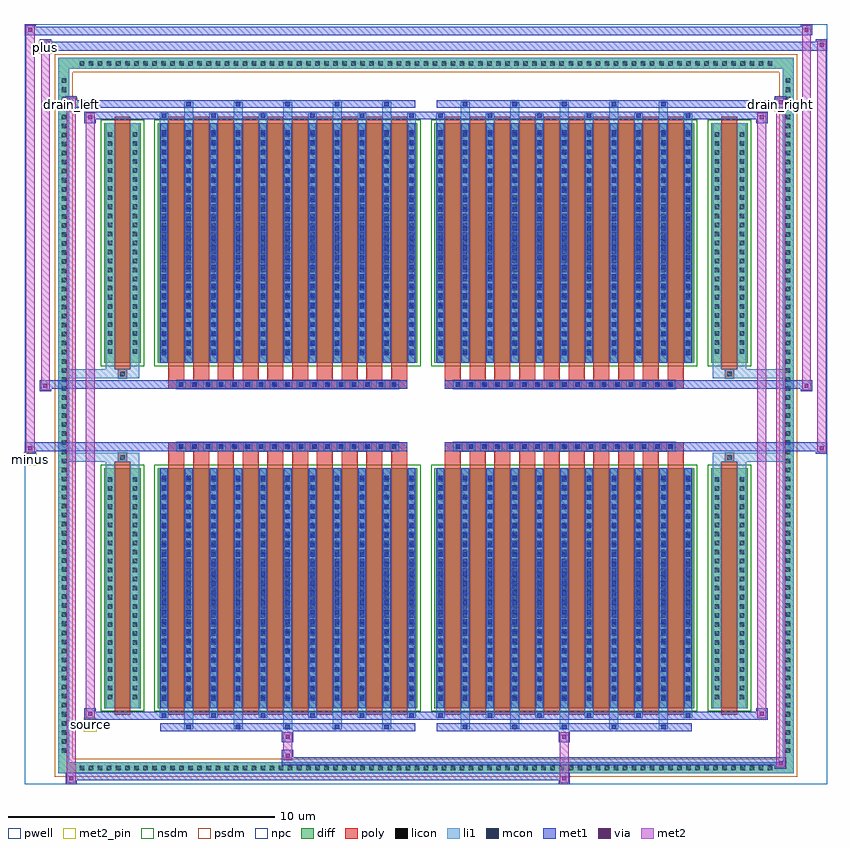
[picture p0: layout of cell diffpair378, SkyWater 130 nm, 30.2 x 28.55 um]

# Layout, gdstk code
import gdstk
lib = gdstk.Library(unit=1e-6, precision=5e-09)
def R(c, l, rs):  # rectangles x0, y0, x1, y1
    for r in rs: c.add(gdstk.rectangle(r[:2], r[2:], *l))
def A(c, l, x, y, w, h, nx, ny, dx, dy):  # array of equal rectangles
    R(c, l, [(x+i*dx, y+j*dy, x+i*dx+w, y+j*dy+h) for i in range(nx) for j in range(ny)])
def P(c, l, *ps):  # polygons
    for p in ps: c.add(gdstk.Polygon(p, *l))
pwell = (64, 44)
diff = (65, 20)
poly = (66, 20)
licon = (66, 44)
li1 = (67, 20)
mcon = (67, 44)
met1 = (68, 20)
via = (68, 44)
met2_pin = (69, 16)
met2 = (69, 20)
nsdm = (93, 44)
psdm = (94, 20)
npc = (95, 20)

diffpair378 = lib.new_cell('diffpair378')
R(diffpair378, pwell, [(-15.08,-13.84,15.08,14.71), (-12.4,-12.03,-0.01,-0.805), (0.01,-12.03,12.4,-0.805), (-12.4,0.805,-0.01,12.03), (0.01,0.805,12.4,12.03)])
A(diffpair378, diff, -13.125, -13.44, 0.41, 0.41, 77, 2, 0.34, 26.47)
A(diffpair378, diff, -13.81, -12.785, 0.41, 0.41, 1, 75, 0, 0.34)
A(diffpair378, diff, 13.4, -12.785, 0.41, 0.41, 1, 75, 0, 0.34)
R(diffpair378, diff, [(-13.125,-13.44,13.125,-13.03), (-13.81,-12.785,-13.4,12.785), (13.4,-12.785,13.81,12.785), (-12.09,-10.985,-10.71,-1.985), (-10.07,-10.985,-0.32,-1.985), (0.32,-10.985,10.07,-1.985), (10.71,-10.985,12.09,-1.985), (-12.09,1.985,-10.71,10.985), (-10.07,1.985,-0.32,10.985), (0.32,1.985,10.07,10.985), (10.71,1.985,12.09,10.985), (-13.125,13.03,13.125,13.44)])
P(diffpair378, diff, [(13.81,13.44),(-13.81,13.44),(-13.81,-13.03),(-13.4,-13.03),(-13.4,13.03),(13.4,13.03),(13.4,-13.03),(-13.4,-13.03),(-13.81,-13.03),(-13.81,-13.44),(13.81,-13.44)])
A(diffpair378, poly, -9.68, -11.235, 0.6, 9.5, 10, 2, 0.93, 12.97)
A(diffpair378, poly, 0.71, -11.235, 0.6, 9.5, 10, 2, 0.93, 12.97)
A(diffpair378, poly, -9.68, -1.735, 0.6, 0.4, 10, 2, 0.93, 3.07)
A(diffpair378, poly, 0.71, -1.735, 0.6, 0.4, 10, 2, 0.93, 3.07)
A(diffpair378, poly, -9.36, -1.335, 0.33, 0.33, 17, 2, 0.5, 2.34)
A(diffpair378, poly, 1.03, -1.335, 0.33, 0.33, 17, 2, 0.5, 2.34)
R(diffpair378, poly, [(-11.7,-11.235,-11.1,-1.735), (11.1,-11.235,11.7,-1.735), (-11.565,-1.735,-11.235,-1.405), (-11.565,-1.735,-11.235,-1.405), (11.235,-1.735,11.565,-1.405), (11.235,-1.735,11.565,-1.405), (-9.68,-1.335,-0.71,-1.005), (0.71,-1.335,9.68,-1.005), (-9.68,1.005,-0.71,1.335), (0.71,1.005,9.68,1.335), (-11.565,1.405,-11.235,1.735), (-11.565,1.405,-11.235,1.735), (11.235,1.405,11.565,1.735), (11.235,1.405,11.565,1.735), (-11.7,1.735,-11.1,11.235), (11.1,1.735,11.7,11.235)])
A(diffpair378, licon, -13.005, -13.32, 0.17, 0.17, 77, 2, 0.34, 26.47)
A(diffpair378, licon, -13.69, -12.665, 0.17, 0.17, 1, 75, 0, 0.34)
A(diffpair378, licon, 13.52, -12.665, 0.17, 0.17, 1, 75, 0, 0.34)
A(diffpair378, licon, -11.95, -10.65, 0.17, 0.17, 1, 25, 0, 0.34)
A(diffpair378, licon, -11.02, -10.65, 0.17, 0.17, 1, 25, 0, 0.34)
A(diffpair378, licon, -9.93, -10.65, 0.17, 0.17, 11, 25, 0.93, 0.34)
A(diffpair378, licon, 0.46, -10.65, 0.17, 0.17, 11, 25, 0.93, 0.34)
A(diffpair378, licon, 10.85, -10.65, 0.17, 0.17, 1, 25, 0, 0.34)
A(diffpair378, licon, 11.78, -10.65, 0.17, 0.17, 1, 25, 0, 0.34)
A(diffpair378, licon, -9.28, -1.255, 0.17, 0.17, 17, 2, 0.5, 2.34)
A(diffpair378, licon, 1.11, -1.255, 0.17, 0.17, 17, 2, 0.5, 2.34)
A(diffpair378, licon, -11.95, 2.32, 0.17, 0.17, 1, 25, 0, 0.34)
A(diffpair378, licon, -11.02, 2.32, 0.17, 0.17, 1, 25, 0, 0.34)
A(diffpair378, licon, -9.93, 2.32, 0.17, 0.17, 11, 25, 0.93, 0.34)
A(diffpair378, licon, 0.46, 2.32, 0.17, 0.17, 11, 25, 0.93, 0.34)
A(diffpair378, licon, 10.85, 2.32, 0.17, 0.17, 1, 25, 0, 0.34)
A(diffpair378, licon, 11.78, 2.32, 0.17, 0.17, 1, 25, 0, 0.34)
R(diffpair378, licon, [(-11.485,-1.655,-11.315,-1.485), (11.315,-1.655,11.485,-1.485), (-11.485,1.485,-11.315,1.655), (11.315,1.485,11.485,1.655)])
A(diffpair378, li1, -13.085, -13.4, 0.33, 0.33, 77, 2, 0.34, 26.47)
A(diffpair378, li1, -13.77, -12.745, 0.33, 0.33, 1, 75, 0, 0.34)
A(diffpair378, li1, 13.44, -12.745, 0.33, 0.33, 1, 75, 0, 0.34)
A(diffpair378, li1, -9.08, -11.79, 0.33, 0.805, 5, 2, 1.86, 22.775)
A(diffpair378, li1, -9, -11.79, 0.17, 0.17, 5, 2, 1.86, 23.41)
A(diffpair378, li1, 1.31, -11.79, 0.33, 0.805, 5, 2, 1.86, 22.775)
A(diffpair378, li1, 1.39, -11.79, 0.17, 0.17, 5, 2, 1.86, 23.41)
A(diffpair378, li1, -10.01, -11.36, 0.33, 0.375, 6, 2, 1.86, 22.345)
A(diffpair378, li1, -9.93, -11.36, 0.17, 0.17, 6, 2, 1.86, 22.55)
A(diffpair378, li1, 0.38, -11.36, 0.33, 0.375, 6, 2, 1.86, 22.345)
A(diffpair378, li1, 0.46, -11.36, 0.17, 0.17, 6, 2, 1.86, 22.55)
A(diffpair378, li1, -10.01, -10.985, 0.33, 9, 11, 2, 0.93, 12.97)
A(diffpair378, li1, 0.38, -10.985, 0.33, 9, 11, 2, 0.93, 12.97)
A(diffpair378, li1, -12.03, -10.73, 0.33, 0.33, 1, 25, 0, 0.34)
A(diffpair378, li1, -11.1, -10.73, 0.33, 0.33, 1, 25, 0, 0.34)
A(diffpair378, li1, -10.01, -10.73, 0.33, 0.33, 11, 25, 0.93, 0.34)
A(diffpair378, li1, 0.38, -10.73, 0.33, 0.33, 11, 25, 0.93, 0.34)
A(diffpair378, li1, 10.77, -10.73, 0.33, 0.33, 1, 25, 0, 0.34)
A(diffpair378, li1, 11.7, -10.73, 0.33, 0.33, 1, 25, 0, 0.34)
A(diffpair378, li1, -9.93, -10.71, 0.17, 0.17, 11, 24, 0.93, 0.36)
A(diffpair378, li1, -9.93, -10.71, 0.17, 8.45, 11, 2, 0.93, 12.97)
A(diffpair378, li1, 0.46, -10.71, 0.17, 0.17, 11, 24, 0.93, 0.36)
A(diffpair378, li1, 0.46, -10.71, 0.17, 8.45, 11, 2, 0.93, 12.97)
A(diffpair378, li1, -9.36, -1.335, 0.33, 0.33, 17, 2, 0.5, 2.34)
A(diffpair378, li1, 1.03, -1.335, 0.33, 0.33, 17, 2, 0.5, 2.34)
A(diffpair378, li1, -12.03, 2.24, 0.33, 0.33, 1, 25, 0, 0.34)
A(diffpair378, li1, -11.1, 2.24, 0.33, 0.33, 1, 25, 0, 0.34)
A(diffpair378, li1, -10.01, 2.24, 0.33, 0.33, 11, 25, 0.93, 0.34)
A(diffpair378, li1, 0.38, 2.24, 0.33, 0.33, 11, 25, 0.93, 0.34)
A(diffpair378, li1, 10.77, 2.24, 0.33, 0.33, 1, 25, 0, 0.34)
A(diffpair378, li1, 11.7, 2.24, 0.33, 0.33, 1, 25, 0, 0.34)
A(diffpair378, li1, -9.93, 2.26, 0.17, 0.17, 11, 24, 0.93, 0.36)
A(diffpair378, li1, 0.46, 2.26, 0.17, 0.17, 11, 24, 0.93, 0.36)
R(diffpair378, li1, [(-13.81,-13.44,-13.4,-13.03), (-13.81,-13.44,-13.4,-13.03), (-13.4,-13.44,13.4,-13.03), (13.4,-13.44,13.81,-13.03), (13.4,-13.44,13.81,-13.03), (-13.81,-13.03,-13.4,13.03), (13.4,-13.03,13.81,13.03), (-12.03,-10.985,-11.7,-1.985), (-11.1,-10.985,-10.77,-1.985), (10.77,-10.985,11.1,-1.985), (11.7,-10.985,12.03,-1.985), (-12.03,-1.985,-11.7,-1.405), (-11.1,-1.985,-10.77,-1.405), (10.77,-1.985,11.1,-1.405), (11.7,-1.985,12.03,-1.405), (-13.81,-1.735,-11.565,-1.405), (-12.03,-1.735,-11.565,-1.405), (-11.565,-1.735,-11.235,-1.405), (-11.235,-1.735,-10.77,-1.405), (10.77,-1.735,11.235,-1.405), (11.235,-1.735,11.565,-1.405), (11.235,-1.735,13.81,-1.405), (11.565,-1.735,12.03,-1.405), (-13.81,1.405,-11.565,1.735), (-12.03,1.405,-11.565,1.735), (-12.03,1.405,-11.7,1.985), (-11.565,1.405,-11.235,1.735), (-11.235,1.405,-10.77,1.735), (-11.1,1.405,-10.77,1.985), (10.77,1.405,11.235,1.735), (10.77,1.405,11.1,1.985), (11.235,1.405,11.565,1.735), (11.235,1.405,13.81,1.735), (11.565,1.405,12.03,1.735), (11.7,1.405,12.03,1.985), (-12.03,1.985,-11.7,10.985), (-11.1,1.985,-10.77,10.985), (10.77,1.985,11.1,10.985), (11.7,1.985,12.03,10.985), (-13.81,13.03,-13.4,13.44), (-13.81,13.03,-13.4,13.44), (-13.4,13.03,13.4,13.44), (13.4,13.03,13.81,13.44), (13.4,13.03,13.81,13.44)])
A(diffpair378, mcon, -9, -11.79, 0.17, 0.17, 5, 2, 1.86, 23.41)
A(diffpair378, mcon, 1.39, -11.79, 0.17, 0.17, 5, 2, 1.86, 23.41)
A(diffpair378, mcon, -9.93, -11.36, 0.17, 0.17, 6, 2, 1.86, 22.55)
A(diffpair378, mcon, 0.46, -11.36, 0.17, 0.17, 6, 2, 1.86, 22.55)
A(diffpair378, mcon, -9.93, -10.71, 0.17, 0.17, 11, 24, 0.93, 0.36)
A(diffpair378, mcon, 0.46, -10.71, 0.17, 0.17, 11, 24, 0.93, 0.36)
A(diffpair378, mcon, -9.28, -1.255, 0.17, 0.17, 17, 2, 0.5, 2.34)
A(diffpair378, mcon, 1.11, -1.255, 0.17, 0.17, 17, 2, 0.5, 2.34)
A(diffpair378, mcon, -9.93, 2.26, 0.17, 0.17, 11, 24, 0.93, 0.36)
A(diffpair378, mcon, 0.46, 2.26, 0.17, 0.17, 11, 24, 0.93, 0.36)
A(diffpair378, met1, -9.06, -11.85, 0.29, 0.29, 5, 2, 1.86, 23.41)
A(diffpair378, met1, 1.33, -11.85, 0.29, 0.29, 5, 2, 1.86, 23.41)
A(diffpair378, met1, -9.99, -11.42, 0.29, 0.29, 6, 2, 1.86, 22.55)
A(diffpair378, met1, 0.4, -11.42, 0.29, 0.29, 6, 2, 1.86, 22.55)
A(diffpair378, met1, -9.99, -10.985, 0.29, 9, 11, 2, 0.93, 12.97)
A(diffpair378, met1, 0.4, -10.985, 0.29, 9, 11, 2, 0.93, 12.97)
A(diffpair378, met1, -9.99, -10.77, 0.29, 0.29, 11, 24, 0.93, 0.36)
A(diffpair378, met1, 0.4, -10.77, 0.29, 0.29, 11, 24, 0.93, 0.36)
A(diffpair378, met1, -9.34, -1.315, 0.29, 0.29, 17, 2, 0.5, 2.34)
A(diffpair378, met1, 1.05, -1.315, 0.29, 0.29, 17, 2, 0.5, 2.34)
A(diffpair378, met1, -9.99, 2.2, 0.29, 0.29, 11, 24, 0.93, 0.36)
A(diffpair378, met1, 0.4, 2.2, 0.29, 0.29, 11, 24, 0.93, 0.36)
R(diffpair378, met1, [(-13.54,-13.84,-13.11,-13.41), (4.98,-13.84,5.41,-13.41), (-13.54,-13.7,5.41,-13.41), (13.11,-13.27,13.54,-12.84), (-5.41,-13.13,13.54,-12.84), (-5.41,-12.99,-4.98,-12.56), (-5.41,-12.28,-4.98,-11.85), (4.98,-12.28,5.41,-11.85), (-9.99,-11.85,-0.4,-11.56), (0.4,-11.85,9.99,-11.56), (-12.83,-11.42,-12.4,-10.99), (-12.83,-11.42,-9.99,-11.13), (-9.99,-11.42,-0.4,-11.13), (-0.4,-11.42,0.4,-11.13), (0.4,-11.42,9.99,-11.13), (9.99,-11.42,12.83,-11.13), (12.4,-11.42,12.83,-10.99), (-15.08,-1.435,-14.65,-1.005), (14.65,-1.435,15.08,-1.005), (-15.08,-1.335,-0.71,-1.005), (-9.68,-1.335,-0.71,-1.005), (0.71,-1.335,9.68,-1.005), (0.71,-1.335,15.08,-1.005), (-14.51,0.905,-14.08,1.335), (14.08,0.905,14.51,1.335), (-14.51,1.005,-9.68,1.335), (-9.68,1.005,-0.71,1.335), (0.71,1.005,9.68,1.335), (9.68,1.005,14.51,1.335), (-12.83,10.99,-12.4,11.42), (12.4,10.99,12.83,11.42), (-12.83,11.13,-9.99,11.42), (-9.99,11.13,-0.4,11.42), (-0.4,11.13,0.4,11.42), (0.4,11.13,9.99,11.42), (9.99,11.13,12.83,11.42), (-13.54,11.56,-13.11,11.99), (-13.54,11.56,-9.99,11.85), (-9.99,11.56,-0.4,11.85), (0.4,11.56,9.99,11.85), (9.99,11.56,13.54,11.85), (13.11,11.56,13.54,11.99), (-14.51,13.71,-14.08,14.14), (-14.51,13.71,-12.4,14.04), (-12.4,13.71,12.4,14.04), (12.4,13.71,15.08,14.04), (14.65,13.71,15.08,14.14), (-15.08,14.28,-14.65,14.71), (-15.08,14.28,-12.4,14.61), (-12.4,14.28,12.4,14.61), (12.4,14.28,14.51,14.61), (14.08,14.28,14.51,14.71)])
R(diffpair378, via, [(-13.4,-13.7,-13.25,-13.55), (5.12,-13.7,5.27,-13.55), (13.25,-13.13,13.4,-12.98), (-5.27,-12.85,-5.12,-12.7), (-5.27,-12.14,-5.12,-11.99), (5.12,-12.14,5.27,-11.99), (-12.69,-11.28,-12.54,-11.13), (12.54,-11.28,12.69,-11.13), (-14.94,-1.295,-14.79,-1.145), (14.79,-1.295,14.94,-1.145), (-14.37,1.045,-14.22,1.195), (14.22,1.045,14.37,1.195), (-12.69,11.13,-12.54,11.28), (12.54,11.13,12.69,11.28), (-13.4,11.7,-13.25,11.85), (13.25,11.7,13.4,11.85), (-14.37,13.85,-14.22,14), (14.79,13.85,14.94,14), (-14.94,14.42,-14.79,14.57), (14.22,14.42,14.37,14.57)])
R(diffpair378, met2_pin, [(-12.865,-11.87,-12.365,-11.37), (-15.115,-1.885,-14.615,-1.385), (-13.575,11.44,-13.075,11.94), (13.075,11.44,13.575,11.94), (-14.545,13.59,-14.045,14.09)])
R(diffpair378, met2, [(-13.49,-13.79,-13.16,-13.46), (-13.49,-13.79,-13.16,11.94), (5.03,-13.79,5.36,-13.46), (5.03,-13.46,5.36,-12.23), (13.16,-13.22,13.49,-12.89), (13.16,-13.22,13.49,11.94), (-5.36,-12.94,-5.03,-12.61), (-5.36,-12.61,-5.03,-12.23), (-5.36,-12.23,-5.03,-11.9), (5.03,-12.23,5.36,-11.9), (-12.78,-11.37,-12.45,-11.04), (-12.78,-11.37,-12.45,11.37), (12.45,-11.37,12.78,-11.04), (12.45,-11.37,12.78,11.37), (-15.03,-1.385,-14.7,-1.055), (-15.03,-1.385,-14.7,14.66), (14.7,-1.385,15.03,-1.055), (14.7,-1.385,15.03,14.09), (-14.46,0.955,-14.13,1.285), (-14.46,0.955,-14.13,14.09), (14.13,0.955,14.46,1.285), (14.13,0.955,14.46,14.66), (-12.78,11.04,-12.45,11.37), (12.45,11.04,12.78,11.37), (-13.49,11.61,-13.16,11.94), (13.16,11.61,13.49,11.94), (-14.46,13.76,-14.13,14.09), (14.7,13.76,15.03,14.09), (-15.03,14.33,-14.7,14.66), (14.13,14.33,14.46,14.66)])
P(diffpair378, met2, [(15.03,-1.385),(15.03,-1.385),(15.03,-1.055),(15.03,-1.055)],
  [(15.03,13.76),(15.03,13.76),(15.03,14.09),(15.03,14.09)],
  [(-14.7,-1.385),(-14.7,-1.385),(-14.7,-1.055),(-14.7,-1.055)],
  [(-14.7,14.33),(-14.7,14.33),(-14.7,14.66),(-14.7,14.66)],
  [(14.46,0.955),(14.46,0.955),(14.46,1.285),(14.46,1.285)],
  [(14.46,14.33),(14.46,14.33),(14.46,14.66),(14.46,14.66)],
  [(-14.13,0.955),(-14.13,0.955),(-14.13,1.285),(-14.13,1.285)],
  [(-14.13,13.76),(-14.13,13.76),(-14.13,14.09),(-14.13,14.09)],
  [(-13.16,-13.79),(-13.16,-13.79),(-13.16,-13.46),(-13.16,-13.46)],
  [(-13.16,11.61),(-13.16,11.61),(-13.16,11.94),(-13.16,11.94)],
  [(13.49,-13.22),(13.49,-13.22),(13.49,-12.89),(13.49,-12.89)],
  [(13.49,11.61),(13.49,11.61),(13.49,11.94),(13.49,11.94)],
  [(-12.45,-11.37),(-12.45,-11.37),(-12.45,-11.04),(-12.45,-11.04)],
  [(-12.45,11.04),(-12.45,11.04),(-12.45,11.37),(-12.45,11.37)],
  [(12.78,-11.37),(12.78,-11.37),(12.78,-11.04),(12.78,-11.04)],
  [(12.78,11.04),(12.78,11.04),(12.78,11.37),(12.78,11.37)])
R(diffpair378, nsdm, [(-12.22,-11.115,-10.58,-1.855), (-10.2,-11.115,-0.19,-1.855), (0.19,-11.115,10.2,-1.855), (10.58,-11.115,12.22,-1.855), (-12.22,1.855,-10.58,11.115), (-10.2,1.855,-0.19,11.115), (0.19,1.855,10.2,11.115), (10.58,1.855,12.22,11.115)])
P(diffpair378, psdm, [(13.94,13.57),(-13.94,13.57),(-13.94,-12.9),(-13.27,-12.9),(-13.27,12.9),(13.27,12.9),(13.27,-12.9),(-13.27,-12.9),(-13.94,-12.9),(-13.94,-13.57),(13.94,-13.57)])
A(diffpair378, npc, -9.38, -1.355, 0.37, 0.37, 17, 2, 0.5, 2.34)
A(diffpair378, npc, 1.01, -1.355, 0.37, 0.37, 17, 2, 0.5, 2.34)
R(diffpair378, npc, [(-11.585,-1.755,-11.215,-1.385), (11.215,-1.755,11.585,-1.385), (-9.38,-1.355,-8.51,-0.985), (-9.38,-1.355,-8.51,-0.985), (-8.88,-1.355,-8.01,-0.985), (-8.88,-1.355,-8.01,-0.985), (-8.38,-1.355,-7.51,-0.985), (-8.38,-1.355,-7.51,-0.985), (-7.88,-1.355,-7.01,-0.985), (-7.88,-1.355,-7.01,-0.985), (-7.38,-1.355,-6.51,-0.985), (-7.38,-1.355,-6.51,-0.985), (-6.88,-1.355,-6.01,-0.985), (-6.88,-1.355,-6.01,-0.985), (-6.38,-1.355,-5.51,-0.985), (-6.38,-1.355,-5.51,-0.985), (-5.88,-1.355,-5.01,-0.985), (-5.88,-1.355,-5.01,-0.985), (-5.38,-1.355,-4.51,-0.985), (-5.38,-1.355,-4.51,-0.985), (-4.88,-1.355,-4.01,-0.985), (-4.88,-1.355,-4.01,-0.985), (-4.38,-1.355,-3.51,-0.985), (-4.38,-1.355,-3.51,-0.985), (-3.88,-1.355,-3.01,-0.985), (-3.88,-1.355,-3.01,-0.985), (-3.38,-1.355,-2.51,-0.985), (-3.38,-1.355,-2.51,-0.985), (-2.88,-1.355,-2.01,-0.985), (-2.88,-1.355,-2.01,-0.985), (-2.38,-1.355,-1.51,-0.985), (-2.38,-1.355,-1.51,-0.985), (-1.88,-1.355,-1.01,-0.985), (-1.88,-1.355,-1.01,-0.985), (1.01,-1.355,1.88,-0.985), (1.01,-1.355,1.88,-0.985), (1.51,-1.355,2.38,-0.985), (1.51,-1.355,2.38,-0.985), (2.01,-1.355,2.88,-0.985), (2.01,-1.355,2.88,-0.985), (2.51,-1.355,3.38,-0.985), (2.51,-1.355,3.38,-0.985), (3.01,-1.355,3.88,-0.985), (3.01,-1.355,3.88,-0.985), (3.51,-1.355,4.38,-0.985), (3.51,-1.355,4.38,-0.985), (4.01,-1.355,4.88,-0.985), (4.01,-1.355,4.88,-0.985), (4.51,-1.355,5.38,-0.985), (4.51,-1.355,5.38,-0.985), (5.01,-1.355,5.88,-0.985), (5.01,-1.355,5.88,-0.985), (5.51,-1.355,6.38,-0.985), (5.51,-1.355,6.38,-0.985), (6.01,-1.355,6.88,-0.985), (6.01,-1.355,6.88,-0.985), (6.51,-1.355,7.38,-0.985), (6.51,-1.355,7.38,-0.985), (7.01,-1.355,7.88,-0.985), (7.01,-1.355,7.88,-0.985), (7.51,-1.355,8.38,-0.985), (7.51,-1.355,8.38,-0.985), (8.01,-1.355,8.88,-0.985), (8.01,-1.355,8.88,-0.985), (8.51,-1.355,9.38,-0.985), (8.51,-1.355,9.38,-0.985), (-9.38,0.985,-8.51,1.355), (-9.38,0.985,-8.51,1.355), (-8.88,0.985,-8.01,1.355), (-8.88,0.985,-8.01,1.355), (-8.38,0.985,-7.51,1.355), (-8.38,0.985,-7.51,1.355), (-7.88,0.985,-7.01,1.355), (-7.88,0.985,-7.01,1.355), (-7.38,0.985,-6.51,1.355), (-7.38,0.985,-6.51,1.355), (-6.88,0.985,-6.01,1.355), (-6.88,0.985,-6.01,1.355), (-6.38,0.985,-5.51,1.355), (-6.38,0.985,-5.51,1.355), (-5.88,0.985,-5.01,1.355), (-5.88,0.985,-5.01,1.355), (-5.38,0.985,-4.51,1.355), (-5.38,0.985,-4.51,1.355), (-4.88,0.985,-4.01,1.355), (-4.88,0.985,-4.01,1.355), (-4.38,0.985,-3.51,1.355), (-4.38,0.985,-3.51,1.355), (-3.88,0.985,-3.01,1.355), (-3.88,0.985,-3.01,1.355), (-3.38,0.985,-2.51,1.355), (-3.38,0.985,-2.51,1.355), (-2.88,0.985,-2.01,1.355), (-2.88,0.985,-2.01,1.355), (-2.38,0.985,-1.51,1.355), (-2.38,0.985,-1.51,1.355), (-1.88,0.985,-1.01,1.355), (-1.88,0.985,-1.01,1.355), (1.01,0.985,1.88,1.355), (1.01,0.985,1.88,1.355), (1.51,0.985,2.38,1.355), (1.51,0.985,2.38,1.355), (2.01,0.985,2.88,1.355), (2.01,0.985,2.88,1.355), (2.51,0.985,3.38,1.355), (2.51,0.985,3.38,1.355), (3.01,0.985,3.88,1.355), (3.01,0.985,3.88,1.355), (3.51,0.985,4.38,1.355), (3.51,0.985,4.38,1.355), (4.01,0.985,4.88,1.355), (4.01,0.985,4.88,1.355), (4.51,0.985,5.38,1.355), (4.51,0.985,5.38,1.355), (5.01,0.985,5.88,1.355), (5.01,0.985,5.88,1.355), (5.51,0.985,6.38,1.355), (5.51,0.985,6.38,1.355), (6.01,0.985,6.88,1.355), (6.01,0.985,6.88,1.355), (6.51,0.985,7.38,1.355), (6.51,0.985,7.38,1.355), (7.01,0.985,7.88,1.355), (7.01,0.985,7.88,1.355), (7.51,0.985,8.38,1.355), (7.51,0.985,8.38,1.355), (8.01,0.985,8.88,1.355), (8.01,0.985,8.88,1.355), (8.51,0.985,9.38,1.355), (8.51,0.985,9.38,1.355), (-11.585,1.385,-11.215,1.755), (11.215,1.385,11.585,1.755)])
diffpair378.add(gdstk.Label('minus', (-14.865,-1.635), layer=69, texttype=5))
diffpair378.add(gdstk.Label('drain_right', (13.325,11.69), layer=69, texttype=5))
diffpair378.add(gdstk.Label('drain_left', (-13.325,11.69), layer=69, texttype=5))
diffpair378.add(gdstk.Label('source', (-12.615,-11.62), layer=69, texttype=5))
diffpair378.add(gdstk.Label('plus', (-14.295,13.84), layer=69, texttype=5))

lib.write_gds('diffpair378.gds')
